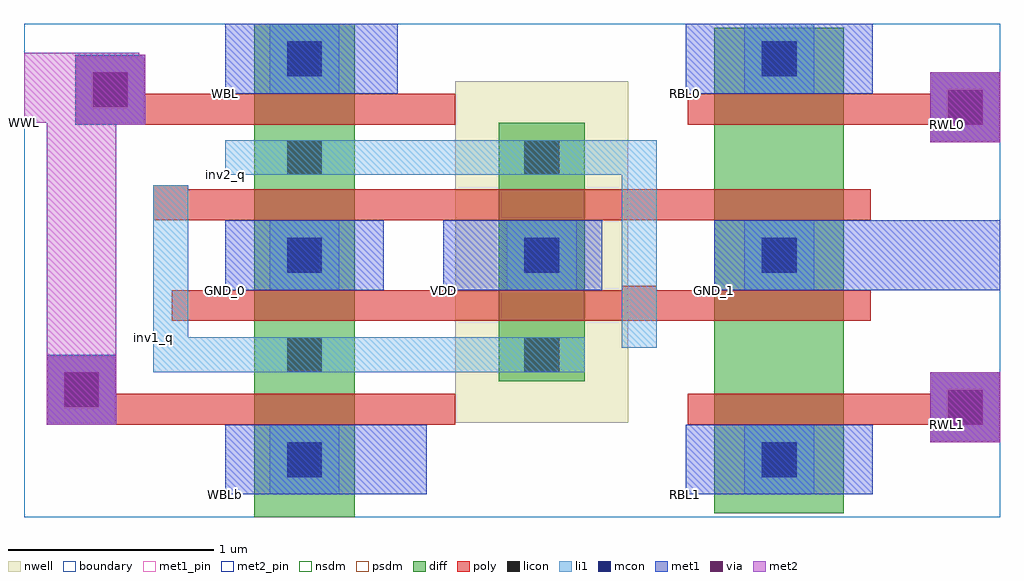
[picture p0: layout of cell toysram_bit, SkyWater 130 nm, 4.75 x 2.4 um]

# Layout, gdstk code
import gdstk
lib = gdstk.Library(unit=1e-6, precision=1e-09)
def R(c, l, rs):  # rectangles x0, y0, x1, y1
    for r in rs: c.add(gdstk.rectangle(r[:2], r[2:], *l))
def A(c, l, x, y, w, h, nx, ny, dx, dy):  # array of equal rectangles
    R(c, l, [(x+i*dx, y+j*dy, x+i*dx+w, y+j*dy+h) for i in range(nx) for j in range(ny)])
nwell = (64, 20)
diff = (65, 20)
poly = (66, 20)
licon = (66, 44)
li1 = (67, 20)
mcon = (67, 44)
met1_pin = (68, 16)
met1 = (68, 20)
via = (68, 44)
met2_pin = (69, 16)
met2 = (69, 20)
nsdm = (93, 44)
psdm = (94, 20)
boundary = (235, 4)

toysram_bit = lib.new_cell('toysram_bit')
R(toysram_bit, nwell, [(2.1,0.46,2.94,2.12)])
R(toysram_bit, diff, [(1.12,0,1.61,2.4), (3.36,0.018,3.99,2.382), (2.31,0.66,2.73,1.92)])
R(toysram_bit, poly, [(4.41,0.365,4.75,0.705), (0.11,0.45,0.45,0.79), (0.45,0.45,2.1,0.6), (3.23,0.45,4.75,0.6), (0.72,0.955,4.12,1.105), (2.91,0.955,3.08,1.125), (0.63,1.445,0.8,1.615), (0.72,1.445,4.12,1.595), (4.41,1.825,4.75,2.165), (0.25,1.91,0.59,2.25), (0.42,1.91,2.1,2.06), (3.23,1.91,4.75,2.06)])
A(toysram_bit, licon, 1.28, 1.19, 0.17, 0.17, 3, 1, 1.155, 0)
R(toysram_bit, licon, [(1.28,0.195,1.45,0.365), (3.59,0.195,3.76,0.365), (1.28,0.705,1.45,0.875), (2.435,0.705,2.605,0.875), (1.28,1.665,1.45,1.835), (2.435,1.665,2.605,1.835), (1.28,2.145,1.45,2.315), (3.59,2.145,3.76,2.315)])
A(toysram_bit, li1, 1.195, 1.105, 0.34, 0.34, 3, 1, 1.155, 0)
R(toysram_bit, li1, [(1.195,0.11,1.535,0.45), (3.505,0.11,3.845,0.45), (4.41,0.365,4.75,0.705), (0.11,0.45,0.45,0.79), (0.63,0.705,2.73,0.875), (1.28,0.705,1.45,0.875), (2.435,0.705,2.605,0.875), (2.91,0.825,3.08,1.665), (0.63,0.875,0.8,1.545), (2.91,0.955,3.08,1.125), (0.63,1.445,0.8,1.615), (0.98,1.665,3.08,1.835), (1.28,1.665,1.45,1.835), (2.435,1.665,2.605,1.835), (4.41,1.825,4.75,2.165), (0.25,1.91,0.59,2.25), (1.195,2.06,1.535,2.4), (3.505,2.06,3.845,2.4)])
A(toysram_bit, mcon, 1.28, 1.19, 0.17, 0.17, 3, 1, 1.155, 0)
R(toysram_bit, mcon, [(1.28,0.195,1.45,0.365), (3.59,0.195,3.76,0.365), (4.495,0.45,4.665,0.62), (0.195,0.535,0.365,0.705), (4.495,1.91,4.665,2.08), (0.335,1.995,0.505,2.165), (1.28,2.145,1.45,2.315), (3.59,2.145,3.76,2.315)])
A(toysram_bit, met1_pin, 1.28, 1.19, 0.17, 0.17, 3, 1, 1.155, 0)
R(toysram_bit, met1_pin, [(1.28,0.195,1.45,0.365), (3.59,0.195,3.76,0.365), (1.28,2.145,1.45,2.315), (3.59,2.145,3.76,2.315)])
A(toysram_bit, met1, 1.195, 1.105, 0.34, 0.34, 3, 1, 1.155, 0)
R(toysram_bit, met1, [(0.98,0.11,1.96,0.45), (1.195,0.11,1.535,0.45), (3.22,0.11,4.13,0.45), (3.505,0.11,3.845,0.45), (4.41,0.365,4.75,0.705), (0.11,0.45,0.45,0.79), (0.98,1.105,1.752,1.445), (2.041,1.105,2.814,1.445), (3.36,1.105,4.75,1.445), (4.41,1.825,4.75,2.165), (0.25,1.91,0.59,2.25), (0.98,2.06,1.82,2.4), (1.195,2.06,1.535,2.4), (3.22,2.06,4.13,2.4), (3.505,2.06,3.845,2.4)])
R(toysram_bit, via, [(4.495,0.45,4.665,0.62), (0.195,0.535,0.365,0.705), (4.495,1.91,4.665,2.08), (0.335,1.995,0.505,2.165)])
R(toysram_bit, met2_pin, [(4.495,0.45,4.665,0.62), (4.495,1.91,4.665,2.08), (0.335,1.995,0.505,2.165)])
R(toysram_bit, met2, [(4.41,0.365,4.75,0.705), (0.11,0.45,0.45,1.92), (0.11,0.45,0.45,0.79), (4.41,1.825,4.75,2.165), (0.25,1.91,0.59,2.25), (0,1.92,0.56,2.26)])
R(toysram_bit, nsdm, [(1.12,0,1.61,2.4), (3.36,0.018,3.99,2.382)])
R(toysram_bit, psdm, [(2.31,0.66,2.73,1.92)])
R(toysram_bit, boundary, [(0,0,4.75,2.4)])
toysram_bit.add(gdstk.Label('WBL', (0.98,2.06), layer=68, texttype=5))
toysram_bit.add(gdstk.Label('inv2_q', (0.98,1.665), layer=67, texttype=16))
toysram_bit.add(gdstk.Label('GND_0', (0.98,1.105), layer=68, texttype=5))
toysram_bit.add(gdstk.Label('VDD', (2.041,1.105), layer=68, texttype=5))
toysram_bit.add(gdstk.Label('GND_1', (3.36,1.105), layer=68, texttype=5))
toysram_bit.add(gdstk.Label('inv1_q', (0.63,0.875), layer=67, texttype=16))
toysram_bit.add(gdstk.Label('WWL', (0,1.92), layer=69, texttype=5))
toysram_bit.add(gdstk.Label('WBLb', (0.98,0.11), layer=68, texttype=5))
toysram_bit.add(gdstk.Label('RBL0', (3.22,2.06), layer=68, texttype=5))
toysram_bit.add(gdstk.Label('RBL1', (3.22,0.11), layer=68, texttype=5))
toysram_bit.add(gdstk.Label('RWL0', (4.495,1.91), layer=69, texttype=5))
toysram_bit.add(gdstk.Label('RWL1', (4.495,0.45), layer=69, texttype=5))

lib.write_gds('toysram_bit.gds')
